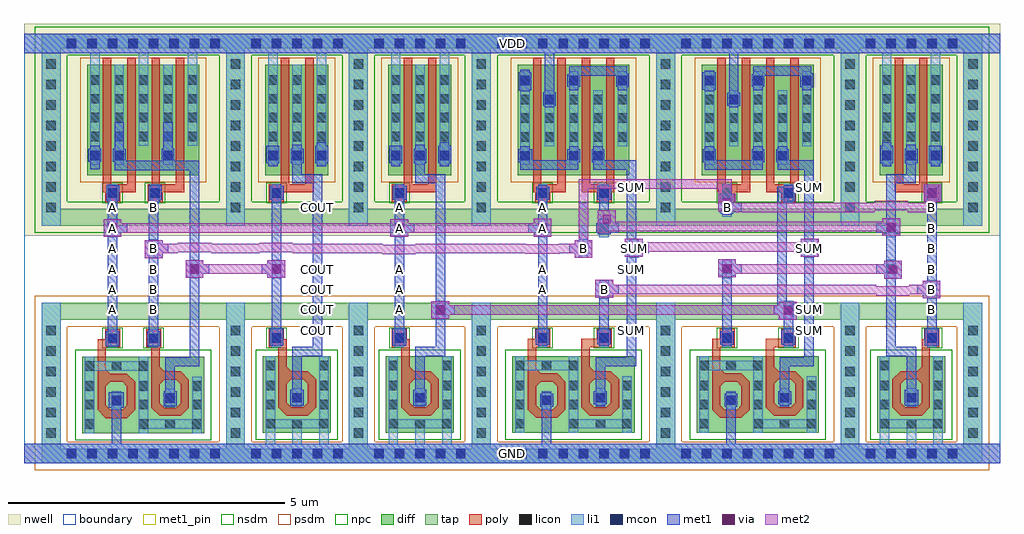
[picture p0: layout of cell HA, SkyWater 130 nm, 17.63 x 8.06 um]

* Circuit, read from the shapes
.subckt HA A B COUT GND SUM VDD
XM1 n1 A GND GND sky130_fd_pr__nfet_01v8 w=2.6 l=0.1473
XM2 n1 B n2 GND sky130_fd_pr__nfet_01v8 w=2.56 l=0.1474
XM3 GND n2 COUT GND sky130_fd_pr__nfet_01v8 w=2.56 l=0.1485
XM4 GND A n3 GND sky130_fd_pr__nfet_01v8 w=2.56 l=0.147
XM5 n4 A GND GND sky130_fd_pr__nfet_01v8 w=2.6 l=0.1467
XM6 n4 B SUM GND sky130_fd_pr__nfet_01v8 w=2.56 l=0.1463
XM7 n5 n6 GND GND sky130_fd_pr__nfet_01v8 w=2.6 l=0.1469
XM8 n5 n3 SUM GND sky130_fd_pr__nfet_01v8 w=2.56 l=0.1474
XM9 GND B n6 GND sky130_fd_pr__nfet_01v8 w=2.56 l=0.1481
XM10 n2 A VDD VDD sky130_fd_pr__pfet_01v8 w=2 l=0.15 m=2
XM11 n2 B VDD VDD sky130_fd_pr__pfet_01v8 w=2 l=0.15 m=2
XM12 COUT n2 VDD VDD sky130_fd_pr__pfet_01v8 w=2 l=0.15 m=2
XM13 n3 A VDD VDD sky130_fd_pr__pfet_01v8 w=2 l=0.15 m=2
XM14 VDD A n7 VDD sky130_fd_pr__pfet_01v8 w=2 l=0.15 m=2
XM15 SUM n6 n7 VDD sky130_fd_pr__pfet_01v8 w=2 l=0.15 m=2
XM16 VDD B n8 VDD sky130_fd_pr__pfet_01v8 w=2 l=0.15 m=2
XM17 SUM n3 n8 VDD sky130_fd_pr__pfet_01v8 w=2 l=0.15 m=2
XM18 n6 B VDD VDD sky130_fd_pr__pfet_01v8 w=2 l=0.15 m=2
.ends

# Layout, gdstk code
from math import pi, radians
import gdstk
lib = gdstk.Library(unit=1e-6, precision=1e-09)
def R(c, l, rs):  # rectangles x0, y0, x1, y1
    for r in rs: c.add(gdstk.rectangle(r[:2], r[2:], *l))
def A(c, l, x, y, w, h, nx, ny, dx, dy):  # array of equal rectangles
    R(c, l, [(x+i*dx, y+j*dy, x+i*dx+w, y+j*dy+h) for i in range(nx) for j in range(ny)])
def P(c, l, *ps):  # polygons
    for p in ps: c.add(gdstk.Polygon(p, *l))
nwell = (64, 20)
diff = (65, 20)
tap = (65, 44)
poly = (66, 20)
licon = (66, 44)
li1 = (67, 20)
mcon = (67, 44)
met1_pin = (68, 16)
met1 = (68, 20)
via = (68, 44)
met2 = (69, 20)
nsdm = (93, 44)
psdm = (94, 20)
npc = (95, 20)
boundary = (235, 4)

diff_ring_side = lib.new_cell('diff_ring_side')
R(diff_ring_side, nwell, [(-0.435,3.93,0.435,7.75)])
R(diff_ring_side, tap, [(-0.17,-0.17,0.17,2.72), (-0.17,4.11,0.17,7.57)])
A(diff_ring_side, licon, -0.085, 0.285, 0.17, 0.17, 1, 6, 0, 0.37)
A(diff_ring_side, licon, -0.085, 4.355, 0.17, 0.17, 1, 8, 0, 0.37)
R(diff_ring_side, li1, [(-0.17,-0.17,0.17,2.72), (-0.17,4.11,0.17,7.57)])
R(diff_ring_side, met1, [(-0.17,-0.17,0.17,0.17), (-0.17,7.23,0.17,7.57)])
R(diff_ring_side, nsdm, [(-0.295,3.985,0.295,7.695)])
R(diff_ring_side, psdm, [(-0.295,-0.295,0.295,2.845)])

poly_li1_contact = lib.new_cell('poly_li1_contact')
R(poly_li1_contact, poly, [(-0.16,-0.14,0.17,0.13)])
R(poly_li1_contact, licon, [(-0.08,-0.09,0.09,0.08)])
R(poly_li1_contact, li1, [(-0.16,-0.09,0.17,0.08)])
R(poly_li1_contact, npc, [(-0.18,-0.19,0.19,0.18)])

pmos2 = lib.new_cell('pmos2')
R(pmos2, nwell, [(0.26,-2.18,1.76,0.18)])
R(pmos2, diff, [(0.44,-2,1.58,0)])
R(pmos2, poly, [(0.72,-2.305,1.31,-2.155), (0.72,-2.155,0.87,0.13), (1.16,-2.155,1.31,0.13)])
A(pmos2, licon, 0.49, -1.38, 0.17, 0.17, 3, 4, 0.44, 0.34)
R(pmos2, li1, [(0.49,-1.465,0.66,0.21), (0.93,-1.465,1.1,0), (1.37,-1.465,1.54,0.21)])
R(pmos2, psdm, [(0.315,-2.125,1.705,0.125)])

nmos_top = lib.new_cell('nmos_top')
R(nmos_top, diff, [(0,0,1.23,1.38)])
R(nmos_top, poly, [(0.42,0.31,0.8,0.46), (0.27,0.46,0.42,0.965), (0.8,0.46,0.95,0.965), (0.42,0.965,0.95,1.115), (0.8,1.115,0.95,1.54)])
P(nmos_top, poly, [(0.72,1.115),(0.8,1.115),(0.8,1.195)],
  [(0.27,0.965),(0.42,0.965),(0.42,1.115)],
  [(0.42,0.885),(0.42,0.965),(0.5,0.965)],
  [(0.72,0.965),(0.8,0.965),(0.8,0.885)],
  [(0.42,0.54),(0.42,0.46),(0.5,0.46)],
  [(0.72,0.46),(0.8,0.46),(0.8,0.54)],
  [(0.27,0.46),(0.42,0.46),(0.42,0.31)],
  [(0.8,0.31),(0.8,0.46),(0.95,0.46)])
R(nmos_top, licon, [(0.04,0.08,0.21,0.25), (0.53,0.08,0.7,0.25), (1.01,0.08,1.18,0.25), (0.04,0.43,0.21,0.6), (1.01,0.43,1.18,0.6), (0.53,0.55,0.7,0.72), (0.04,0.77,0.21,0.94), (1.01,0.77,1.18,0.94), (0.04,1.13,0.21,1.3), (1.01,1.13,1.18,1.3)])
R(nmos_top, li1, [(0.04,0,0.21,0.08), (1.01,0,1.18,0.08), (0.04,0.08,1.18,0.25), (0.04,0.25,0.21,1.38), (1.01,0.25,1.18,1.38), (0.53,0.47,0.7,0.805)])
R(nmos_top, nsdm, [(-0.125,-0.125,1.355,1.505)])

invx1_pcell = lib.new_cell('invx1_pcell')
R(invx1_pcell, nwell, [(-0.435,3.93,2.655,7.75)])
A(invx1_pcell, diff, 0.59, 5.295, 0.17, 0.17, 3, 1, 0.44, 0)
R(invx1_pcell, tap, [(0.17,-0.17,2.05,0.085), (0.17,2.41,2.05,2.72), (0.17,4.11,2.05,4.42), (0.17,7.315,2.05,7.57)])
R(invx1_pcell, poly, [(0.775,1.905,0.925,2.065)])
A(invx1_pcell, licon, 0.285, -0.085, 0.17, 0.17, 5, 2, 0.37, 7.4)
A(invx1_pcell, licon, 0.59, 5.295, 0.17, 0.17, 3, 1, 0.44, 0)
A(invx1_pcell, li1, 0.59, 5.215, 0.17, 0.37, 3, 1, 0.44, 0)
R(invx1_pcell, li1, [(-0.17,-0.17,2.33,0.17), (0.545,0.17,0.715,0.42), (1.025,0.17,1.195,0.45), (1.515,0.17,1.685,0.45), (1.025,0.92,1.195,1.09), (0.655,2,0.825,2.17), (0.655,4.615,0.825,4.785), (-0.17,7.23,2.39,7.57)])
A(invx1_pcell, mcon, 0.285, -0.085, 0.17, 0.17, 5, 2, 0.37, 7.4)
A(invx1_pcell, mcon, 0.59, 5.295, 0.17, 0.17, 3, 1, 0.44, 0)
R(invx1_pcell, mcon, [(1.025,0.92,1.195,1.09), (0.655,2,0.825,2.17), (0.655,4.615,0.825,4.785)])
R(invx1_pcell, met1, [(-0.17,-0.17,2.39,0.17), (0.99,0.86,1.23,1.15), (1.025,1.15,1.195,1.755), (1.025,1.755,1.565,1.925), (1.395,1.925,1.565,4.875), (0.615,1.94,0.865,2.25), (0.655,2.25,0.825,4.58), (0.62,4.58,0.87,4.83), (0.655,4.83,0.825,4.865), (1.03,4.875,1.565,5.045), (1.03,5.045,1.2,5.24), (0.59,5.185,0.76,5.24), (1.47,5.185,1.64,5.24), (0.56,5.24,0.795,5.555), (1,5.24,1.23,5.505), (1.44,5.24,1.675,5.555), (1.03,5.505,1.2,5.575), (1.47,5.555,1.64,5.62), (-0.17,7.23,2.39,7.57)])
R(invx1_pcell, nsdm, [(0.045,3.985,2.175,4.545), (0.045,7.19,2.175,7.695)])
R(invx1_pcell, psdm, [(0.045,-0.295,2.175,0.21), (0.045,2.285,2.175,2.845), (0.465,5.17,1.765,5.59)])
invx1_pcell.add(gdstk.Reference(poly_li1_contact, (0.735,2.08), rotation=pi/2))
invx1_pcell.add(gdstk.Reference(poly_li1_contact, (0.745,4.705), rotation=3*pi/2))
invx1_pcell.add(gdstk.Reference(pmos2, (0.1,7.02)))
invx1_pcell.add(gdstk.Reference(nmos_top, (1.725,0.37), rotation=pi, x_reflection=True))
invx1_pcell.add(gdstk.Reference(diff_ring_side, (0,0)))
invx1_pcell.add(gdstk.Reference(diff_ring_side, (2.22,0)))

li1_m1_contact = lib.new_cell('li1_M1_contact')
R(li1_m1_contact, li1, [(-0.085,-0.165,0.085,0.165)])
R(li1_m1_contact, mcon, [(-0.085,-0.085,0.085,0.085)])
R(li1_m1_contact, met1, [(-0.115,-0.115,0.115,-0.085), (-0.265,-0.085,0.145,0.085), (-0.115,0.085,0.115,0.115)])

pmos2_1 = lib.new_cell('pmos2_1')
R(pmos2_1, nwell, [(0.26,-2.175,1.76,0.185)])
R(pmos2_1, diff, [(0.44,-1.995,1.58,0.005)])
R(pmos2_1, poly, [(0.72,-2.3,1.31,-2.15), (0.72,-2.15,0.87,0.135), (1.16,-2.15,1.31,0.135)])
A(pmos2_1, licon, 0.49, -1.385, 0.17, 0.17, 3, 3, 0.44, 0.34)
A(pmos2_1, li1, 0.49, -1.465, 0.17, 1.01, 3, 1, 0.44, 0)
R(pmos2_1, psdm, [(0.315,-2.12,1.705,0.13)])

nmos_top_trim1 = lib.new_cell('nmos_top_trim1')
R(nmos_top_trim1, diff, [(0,0,1.24,1.38)])
R(nmos_top_trim1, poly, [(0.43,0.31,0.81,0.46), (0.28,0.46,0.43,0.965), (0.81,0.46,0.96,0.965), (0.43,0.965,0.96,1.115), (0.81,1.115,0.96,1.545)])
P(nmos_top_trim1, poly, [(0.73,1.115),(0.81,1.115),(0.81,1.195)],
  [(0.28,0.965),(0.43,0.965),(0.43,1.115)],
  [(0.43,0.885),(0.43,0.965),(0.51,0.965)],
  [(0.73,0.965),(0.81,0.965),(0.81,0.885)],
  [(0.43,0.54),(0.43,0.46),(0.51,0.46)],
  [(0.73,0.46),(0.81,0.46),(0.81,0.54)],
  [(0.28,0.46),(0.43,0.46),(0.43,0.31)],
  [(0.81,0.31),(0.81,0.46),(0.96,0.46)])
A(nmos_top_trim1, licon, 0.05, 0.08, 0.17, 0.17, 3, 1, 0.485, 0)
R(nmos_top_trim1, licon, [(0.05,0.43,0.22,0.6), (1.02,0.43,1.19,0.6), (0.535,0.55,0.705,0.72), (0.05,0.77,0.22,0.94), (1.02,0.77,1.19,0.94), (1.02,1.13,1.19,1.3)])
R(nmos_top_trim1, li1, [(0.05,0,0.22,0.08), (1.02,0,1.19,0.08), (0.05,0.08,1.19,0.25), (0.05,0.25,0.22,1.02), (1.02,0.25,1.19,1.38), (0.535,0.47,0.705,0.805)])
R(nmos_top_trim1, nsdm, [(-0.125,-0.125,1.365,1.505)])

nmos_bottom = lib.new_cell('nmos_bottom')
R(nmos_bottom, diff, [(0,0,1.24,1.38)])
R(nmos_bottom, poly, [(0.43,0.27,0.81,0.42), (0.28,0.42,0.43,0.925), (0.81,0.42,0.96,0.925), (0.43,0.925,0.96,1.075), (0.81,1.075,0.96,1.51)])
P(nmos_bottom, poly, [(0.73,1.075),(0.81,1.075),(0.81,1.155)],
  [(0.28,0.925),(0.43,0.925),(0.43,1.075)],
  [(0.43,0.845),(0.43,0.925),(0.51,0.925)],
  [(0.73,0.925),(0.81,0.925),(0.81,0.845)],
  [(0.43,0.5),(0.43,0.42),(0.51,0.42)],
  [(0.73,0.42),(0.81,0.42),(0.81,0.5)],
  [(0.28,0.42),(0.43,0.42),(0.43,0.27)],
  [(0.81,0.27),(0.81,0.42),(0.96,0.42)])
A(nmos_bottom, licon, 0.05, 1.13, 0.17, 0.17, 3, 1, 0.485, 0)
R(nmos_bottom, licon, [(0.05,0.08,0.22,0.25), (1.02,0.08,1.19,0.25), (0.05,0.43,0.22,0.6), (1.02,0.43,1.19,0.6), (0.535,0.505,0.705,0.675), (0.05,0.77,0.22,0.94), (1.02,0.77,1.19,0.94)])
R(nmos_bottom, li1, [(0.05,0,0.22,1.13), (1.02,0,1.19,1.13), (0.535,0.425,0.705,0.755), (0.05,1.13,1.19,1.3), (0.05,1.3,0.22,1.38), (1.02,1.3,1.19,1.38)])
R(nmos_bottom, nsdm, [(-0.125,-0.125,1.365,1.505)])

xor2x1_pcell = lib.new_cell('xor2X1_pcell')
R(xor2x1_pcell, nwell, [(2.655,3.93,8.445,4.125), (2.64,4.125,5.13,4.84), (5.97,4.125,8.46,4.84), (10.21,4.525,10.275,4.565), (2.64,4.84,2.695,7.195), (5.075,4.84,5.13,7.195), (5.97,4.84,6.025,7.2), (8.405,4.84,8.46,7.2), (2.925,6.65,3.095,6.82), (2.64,7.195,5.13,7.23), (5.97,7.2,8.46,7.23), (2.39,7.23,5.38,7.245), (5.72,7.23,8.71,7.245), (2.39,7.245,5.395,7.315), (5.705,7.245,8.71,7.315), (2.39,7.315,8.71,7.57), (2.64,7.57,5.13,7.66), (5.97,7.57,8.46,7.66), (2.655,7.66,8.445,7.75)])
A(xor2x1_pcell, diff, 2.925, 6.65, 0.17, 0.17, 3, 1, 0.88, 0)
A(xor2x1_pcell, diff, 6.255, 6.65, 0.17, 0.17, 3, 1, 0.88, 0)
R(xor2x1_pcell, diff, [(2.925,5.29,3.095,5.46), (3.805,5.29,3.975,5.46), (4.245,5.29,4.415,5.46), (6.255,5.29,6.425,5.46), (7.135,5.29,7.305,5.46), (7.575,5.29,7.745,5.46)])
R(xor2x1_pcell, tap, [(2.39,-0.17,5.38,-0.085), (5.72,-0.17,8.71,-0.085), (2.39,-0.085,5.395,0.085), (5.705,-0.085,8.71,0.085), (2.39,2.41,5.395,2.72), (5.705,2.41,8.71,2.72), (2.39,4.11,5.395,4.42), (5.705,4.11,8.71,4.42), (2.39,7.315,8.71,7.57)])
R(xor2x1_pcell, poly, [(3.06,1.88,3.21,1.92), (6.39,1.88,6.54,1.92), (4.03,1.915,4.18,1.92), (7.36,1.915,7.51,1.92), (3.06,1.92,3.195,2.07), (4.03,1.92,4.305,2.07), (6.39,1.92,6.525,2.07), (7.36,1.92,7.635,2.07)])
A(xor2x1_pcell, licon, 2.505, -0.085, 0.17, 0.17, 8, 2, 0.37, 7.4)
A(xor2x1_pcell, licon, 5.835, -0.085, 0.17, 0.17, 8, 2, 0.37, 7.4)
A(xor2x1_pcell, licon, 2.925, 6.65, 0.17, 0.17, 3, 1, 0.88, 0)
A(xor2x1_pcell, licon, 6.255, 6.65, 0.17, 0.17, 3, 1, 0.88, 0)
R(xor2x1_pcell, licon, [(2.925,5.29,3.095,5.46), (3.805,5.29,3.975,5.46), (4.245,5.29,4.415,5.46), (6.255,5.29,6.425,5.46), (7.135,5.29,7.305,5.46), (7.575,5.29,7.745,5.46)])
A(xor2x1_pcell, li1, 2.925, 6.56, 0.17, 0.34, 3, 1, 0.88, 0)
A(xor2x1_pcell, li1, 6.255, 6.56, 0.17, 0.34, 3, 1, 0.88, 0)
R(xor2x1_pcell, li1, [(2.375,-0.17,9.075,0.17), (3.315,0.875,3.485,1.045), (6.645,0.875,6.815,1.045), (4.285,0.92,4.455,1.09), (7.615,0.92,7.785,1.09), (3.245,2,3.415,2.17), (4.355,2,4.525,2.17), (6.575,2,6.745,2.17), (7.685,2,7.855,2.17), (0.655,4.615,0.825,4.785), (3.245,4.615,3.415,4.785), (4.355,4.615,4.525,4.785), (7.685,4.615,7.855,4.785), (2.925,5.21,3.095,5.63), (3.805,5.21,3.975,5.565), (4.245,5.21,4.415,5.575), (6.255,5.21,6.425,5.605), (7.135,5.21,7.305,5.59), (7.575,5.21,7.745,5.6), (3.365,6.31,3.535,6.48), (6.695,6.31,6.865,6.48), (2.39,7.23,8.845,7.57)])
A(xor2x1_pcell, mcon, 2.505, -0.085, 0.17, 0.17, 8, 2, 0.37, 7.4)
A(xor2x1_pcell, mcon, 5.835, -0.085, 0.17, 0.17, 8, 2, 0.37, 7.4)
A(xor2x1_pcell, mcon, 2.925, 6.65, 0.17, 0.17, 3, 1, 0.88, 0)
A(xor2x1_pcell, mcon, 6.255, 6.65, 0.17, 0.17, 3, 1, 0.88, 0)
R(xor2x1_pcell, mcon, [(3.315,0.875,3.485,1.045), (6.645,0.875,6.815,1.045), (4.285,0.92,4.455,1.09), (7.615,0.92,7.785,1.09), (3.245,2,3.415,2.17), (4.355,2,4.525,2.17), (6.575,2,6.745,2.17), (7.685,2,7.855,2.17), (0.655,4.615,0.825,4.785), (3.245,4.615,3.415,4.785), (4.355,4.615,4.525,4.785), (7.685,4.615,7.855,4.785), (2.925,5.29,3.095,5.46), (3.805,5.29,3.975,5.46), (4.245,5.29,4.415,5.46), (6.255,5.29,6.425,5.46), (7.135,5.29,7.305,5.46), (7.575,5.29,7.745,5.46), (3.365,6.31,3.535,6.48), (6.695,6.31,6.865,6.48)])
R(xor2x1_pcell, met1, [(2.39,-0.17,5.38,-0.14), (5.72,-0.17,8.71,-0.14), (2.39,-0.14,5.395,0.17), (5.705,-0.14,8.71,0.17), (3.315,0.17,3.485,0.845), (6.645,0.17,6.815,0.845), (3.285,0.845,3.52,1.08), (6.615,0.845,6.845,1.075), (4.285,0.86,4.455,0.885), (7.615,0.86,7.785,0.89), (4.255,0.885,4.49,1.125), (7.585,0.89,7.815,1.12), (6.645,1.075,6.815,1.105), (3.315,1.08,3.485,1.105), (7.615,1.12,7.785,1.57), (4.285,1.125,4.455,1.57), (4.285,1.57,5.015,1.74), (7.615,1.57,8.225,1.74), (4.845,1.74,5.015,3.555), (8.055,1.74,8.225,3.555), (3.245,1.94,3.415,1.965), (4.355,1.94,4.525,1.97), (6.575,1.94,6.745,1.96), (7.685,1.94,7.855,1.96), (6.54,1.96,6.78,2.205), (7.64,1.96,7.895,2.23), (3.205,1.965,3.45,2.24), (4.315,1.97,4.56,2.235), (6.575,2.205,6.745,3.205), (7.685,2.23,7.855,2.415), (4.355,2.235,4.525,2.815), (3.245,2.24,3.415,3.915), (7.595,2.415,7.915,2.64), (1.32,2.43,1.64,2.75), (7.565,2.64,7.915,2.735), (9.535,2.69,9.705,3.155), (7.565,2.735,7.735,4.55), (10.195,2.8,10.515,3.12), (4.28,2.815,4.6,2.875), (4.28,2.875,4.57,3.045), (4.28,3.045,4.6,3.135), (9.495,3.155,9.815,3.475), (6.5,3.205,6.82,3.505), (9.535,3.475,9.705,3.96), (4.845,3.555,5.135,3.585), (7.995,3.555,8.305,3.875), (4.815,3.585,5.135,3.875), (0.655,3.62,0.825,3.91), (4.845,3.875,5.015,5.12), (8.055,3.875,8.225,5.12), (0.58,3.91,0.9,4.23), (3.165,3.915,3.485,4.235), (9.465,3.96,9.785,4.25), (4.325,4.075,4.645,4.395), (0.655,4.23,0.825,4.585), (3.245,4.235,3.415,4.585), (9.535,4.25,9.705,4.355), (6.575,4.31,6.745,4.37), (6.5,4.37,6.82,4.69), (4.355,4.395,4.525,4.585), (10.21,4.545,10.53,4.865), (7.565,4.55,7.89,4.82), (0.62,4.585,0.86,4.835), (3.215,4.585,3.445,4.815), (4.315,4.585,4.565,4.83), (3.245,4.815,3.415,4.845), (7.685,4.82,7.855,4.845), (4.355,4.83,4.525,4.845), (0.655,4.835,0.825,4.845), (2.925,5.12,3.975,5.255), (4.245,5.12,5.015,5.26), (6.255,5.12,7.305,5.26), (7.575,5.12,8.225,5.26), (2.89,5.255,4.01,5.29), (4.215,5.26,5.015,5.29), (6.225,5.26,7.335,5.29), (7.545,5.26,8.225,5.29), (2.89,5.29,3.145,5.49), (3.77,5.29,4.01,5.49), (4.215,5.29,4.445,5.49), (6.225,5.29,6.455,5.49), (7.105,5.29,7.335,5.49), (7.545,5.29,7.775,5.49), (2.925,5.49,3.095,5.55), (3.805,5.49,3.975,5.55), (4.245,5.49,4.415,5.55), (6.255,5.49,6.425,5.55), (7.135,5.49,7.305,5.55), (7.575,5.49,7.745,5.55), (3.365,6.25,3.535,6.28), (6.695,6.25,6.865,6.28), (3.335,6.28,3.565,6.52), (6.665,6.28,6.895,6.51), (6.695,6.51,6.865,7.23), (3.365,6.52,3.535,7.23), (2.925,6.54,3.095,6.56), (6.255,6.545,6.425,6.57), (2.895,6.56,3.125,6.885), (3.805,6.56,3.975,6.62), (4.685,6.56,4.855,6.62), (7.135,6.56,7.305,6.62), (8.015,6.56,8.185,6.615), (6.215,6.57,6.455,6.88), (7.98,6.615,8.215,6.82), (3.775,6.62,4.005,6.82), (4.655,6.62,4.885,6.82), (7.105,6.62,7.335,6.82), (3.775,6.82,4.885,6.85), (7.105,6.82,8.215,6.85), (3.805,6.85,4.885,6.855), (7.135,6.85,8.215,6.87), (3.805,6.855,4.855,6.99), (7.135,6.87,8.185,6.99), (6.255,6.88,6.425,6.91), (2.925,6.885,3.095,6.925), (2.39,7.23,5.38,7.245), (5.72,7.23,8.71,7.245), (2.39,7.245,5.395,7.315), (5.705,7.245,8.71,7.315), (2.39,7.315,8.71,7.57)])
R(xor2x1_pcell, via, [(7.68,2.5,7.83,2.65), (1.405,2.515,1.555,2.665), (10.28,2.885,10.43,3.035), (4.365,2.9,4.515,3.05), (9.58,3.24,9.73,3.39), (6.585,3.27,6.735,3.42), (4.9,3.64,5.05,3.79), (8.08,3.64,8.23,3.79), (0.665,3.995,0.815,4.145), (3.25,4,3.4,4.15), (9.55,4.015,9.7,4.165), (4.41,4.16,4.56,4.31), (6.585,4.455,6.735,4.605), (10.295,4.63,10.445,4.78)])
R(xor2x1_pcell, met2, [(7.595,2.415,7.915,2.505), (1.32,2.43,1.64,2.505), (1.32,2.505,7.915,2.675), (1.32,2.675,1.64,2.75), (7.595,2.675,7.915,2.735), (10.195,2.8,10.515,2.875), (4.28,2.815,4.6,2.875), (9.355,2.845,9.955,2.875), (4.28,2.875,10.515,3.015), (4.28,3.015,9.355,3.045), (9.955,3.015,10.515,3.045), (4.28,3.045,4.6,3.135), (10.195,3.045,10.515,3.12), (9.495,3.155,9.815,3.245), (6.5,3.185,6.82,3.245), (6.5,3.245,9.815,3.415), (6.5,3.415,6.82,3.505), (9.495,3.415,9.815,3.475), (4.815,3.555,5.135,3.645), (7.995,3.555,8.315,3.645), (4.815,3.645,8.315,3.815), (4.815,3.815,5.135,3.875), (7.995,3.815,8.315,3.875), (0.58,3.91,0.9,3.985), (3.165,3.915,3.485,3.985), (9.465,3.93,9.785,4.015), (0.58,3.985,3.485,4.155), (4.325,3.985,4.54,4.015), (4.325,4.015,9.785,4.185), (0.58,4.155,0.9,4.23), (3.165,4.155,3.485,4.235), (4.325,4.185,4.645,4.395), (9.465,4.185,9.785,4.25), (6.82,4.355,9.325,4.37), (9.925,4.355,10.425,4.39), (6.5,4.37,9.325,4.39), (6.5,4.39,10.425,4.525), (6.5,4.525,6.82,4.69), (9.185,4.525,10.065,4.53), (10.21,4.525,10.425,4.545), (9.325,4.53,9.925,4.56), (10.21,4.545,10.53,4.865)])
R(xor2x1_pcell, nsdm, [(2.265,3.985,8.835,4.545), (2.265,7.19,8.835,7.695)])
A(xor2x1_pcell, psdm, 2.8, 6.525, 0.42, 0.42, 3, 1, 0.88, 0)
A(xor2x1_pcell, psdm, 6.13, 6.525, 0.42, 0.42, 3, 1, 0.88, 0)
R(xor2x1_pcell, psdm, [(2.265,-0.295,8.835,0.21), (2.265,2.285,8.835,2.845), (2.8,5.165,3.22,5.585), (3.68,5.165,4.54,5.585), (6.13,5.165,6.55,5.585), (7.01,5.165,7.87,5.585)])
xor2x1_pcell.add(gdstk.Reference(diff_ring_side, (2.22,0)))
xor2x1_pcell.add(gdstk.Reference(invx1_pcell, (0,0)))
xor2x1_pcell.add(gdstk.Reference(li1_m1_contact, (0.74,4.07), rotation=pi))
xor2x1_pcell.add(gdstk.Reference(li1_m1_contact, (1.48,2.59), rotation=pi))
xor2x1_pcell.add(gdstk.Reference(poly_li1_contact, (3.335,2.09), rotation=3*pi/2))
xor2x1_pcell.add(gdstk.Reference(poly_li1_contact, (3.335,4.705), rotation=3*pi/2))
xor2x1_pcell.add(gdstk.Reference(pmos2_1, (3.315,7.015)))
xor2x1_pcell.add(gdstk.Reference(pmos2_1, (2.435,7.015)))
xor2x1_pcell.add(gdstk.Reference(nmos_top_trim1, (4.99,0.37), rotation=pi, x_reflection=True))
xor2x1_pcell.add(gdstk.Reference(nmos_bottom, (4.02,0.37), rotation=pi, x_reflection=True))
xor2x1_pcell.add(gdstk.Reference(li1_m1_contact, (3.33,4.07)))
xor2x1_pcell.add(gdstk.Reference(poly_li1_contact, (4.445,4.705), rotation=3*pi/2))
xor2x1_pcell.add(gdstk.Reference(poly_li1_contact, (4.445,2.09), rotation=3*pi/2))
xor2x1_pcell.add(gdstk.Reference(li1_m1_contact, (4.44,2.96), rotation=pi))
xor2x1_pcell.add(gdstk.Reference(li1_m1_contact, (4.98,3.7), rotation=pi))
xor2x1_pcell.add(gdstk.Reference(li1_m1_contact, (4.44,4.07), rotation=pi))
xor2x1_pcell.add(gdstk.Reference(diff_ring_side, (5.55,0)))
xor2x1_pcell.add(gdstk.Reference(poly_li1_contact, (6.665,4.705), rotation=3*pi/2))
xor2x1_pcell.add(gdstk.Reference(poly_li1_contact, (6.665,2.09), rotation=3*pi/2))
xor2x1_pcell.add(gdstk.Reference(pmos2_1, (6.645,7.015)))
xor2x1_pcell.add(gdstk.Reference(pmos2_1, (5.765,7.015)))
xor2x1_pcell.add(gdstk.Reference(nmos_top_trim1, (8.32,0.37), rotation=pi, x_reflection=True))
xor2x1_pcell.add(gdstk.Reference(nmos_bottom, (7.35,0.37), rotation=pi, x_reflection=True))
xor2x1_pcell.add(gdstk.Reference(li1_m1_contact, (6.66,3.33), rotation=pi))
xor2x1_pcell.add(gdstk.Reference(li1_m1_contact, (6.66,4.44), rotation=pi))
xor2x1_pcell.add(gdstk.Reference(poly_li1_contact, (7.775,4.705), rotation=3*pi/2))
xor2x1_pcell.add(gdstk.Reference(poly_li1_contact, (7.775,2.09), rotation=3*pi/2))
xor2x1_pcell.add(gdstk.Reference(li1_m1_contact, (8.14,3.7)))
xor2x1_pcell.add(gdstk.Reference(li1_m1_contact, (7.77,2.59)))
xor2x1_pcell.add(gdstk.Reference(diff_ring_side, (8.88,0)))
xor2x1_pcell.add(gdstk.Reference(invx1_pcell, (11.1,0), rotation=pi, x_reflection=True))
xor2x1_pcell.add(gdstk.Reference(li1_m1_contact, (10.36,2.96)))
xor2x1_pcell.add(gdstk.Reference(li1_m1_contact, (9.62,4.07)))
xor2x1_pcell.add(gdstk.Reference(li1_m1_contact, (9.62,3.33)))

nand2x1_pcell = lib.new_cell('nand2x1_pcell')
R(nand2x1_pcell, nwell, [(0.435,3.93,2.895,7.75)])
R(nand2x1_pcell, diff, [(1.115,5.265,1.345,5.5), (1.995,5.265,2.225,5.5), (0.705,5.295,0.875,5.465)])
R(nand2x1_pcell, tap, [(0.17,-0.17,3.16,-0.15), (0.155,-0.15,3.175,0.085), (0.155,2.4,0.17,2.41), (3.16,2.4,3.175,2.41), (0.155,2.41,3.175,2.71), (0.17,2.71,3.16,2.72), (0.17,4.11,3.16,4.42), (0.17,7.315,3.16,7.57)])
R(nand2x1_pcell, poly, [(0.84,1.875,0.99,2.065), (1.81,1.91,1.96,1.915)])
A(nand2x1_pcell, licon, 0.285, -0.085, 0.17, 0.17, 8, 2, 0.37, 7.4)
R(nand2x1_pcell, licon, [(0.705,5.295,0.875,5.465), (1.145,5.295,1.315,5.465), (2.025,5.295,2.195,5.465)])
R(nand2x1_pcell, li1, [(0.165,-0.17,3.295,0.17), (1.095,0.87,1.265,1.04), (2.065,0.915,2.235,1.085), (1.025,1.995,1.195,2.165), (1.765,1.995,1.935,2.165), (1.025,4.615,1.195,4.785), (1.795,4.615,1.965,4.785), (0.705,5.215,0.875,5.61), (1.145,5.215,1.315,5.61), (2.025,5.215,2.195,5.61), (-0.17,7.23,3.17,7.57)])
A(nand2x1_pcell, mcon, 0.285, -0.085, 0.17, 0.17, 8, 2, 0.37, 7.4)
R(nand2x1_pcell, mcon, [(1.095,0.87,1.265,1.04), (2.065,0.915,2.235,1.085), (1.025,1.995,1.195,2.165), (1.765,1.995,1.935,2.165), (1.025,4.615,1.195,4.785), (1.795,4.615,1.965,4.785), (0.705,5.295,0.875,5.465), (1.145,5.295,1.315,5.465), (2.025,5.295,2.195,5.465)])
R(nand2x1_pcell, met1, [(-0.17,-0.17,3.5,0.17), (1.095,0.17,1.265,0.825), (1.045,0.825,1.31,1.1), (2.035,0.855,2.265,1.12), (2.065,1.12,2.235,1.57), (2.065,1.57,2.675,1.74), (2.505,1.74,2.675,5.115), (0.99,1.935,1.23,2.205), (1.735,1.935,1.97,2.205), (1.025,2.205,1.195,4.56), (1.765,2.205,1.935,4.555), (1.765,4.555,1.97,4.58), (0.995,4.56,1.23,4.845), (1.765,4.58,1.995,4.845), (1.145,5.115,2.675,5.265), (0.705,5.135,0.875,5.265), (0.675,5.265,0.905,5.5), (1.115,5.265,2.675,5.285), (1.115,5.285,1.345,5.5), (1.995,5.285,2.225,5.5), (0.705,5.5,0.875,5.555), (1.145,5.5,1.315,5.98), (2.025,5.5,2.195,5.98), (-0.17,7.23,3.5,7.57)])
R(nand2x1_pcell, nsdm, [(0.045,3.985,3.285,4.545), (0.045,7.19,3.285,7.695)])
R(nand2x1_pcell, psdm, [(0.045,-0.295,3.285,-0.275), (0.03,-0.275,3.3,0.21), (0.03,2.275,0.295,2.285), (3.035,2.275,3.3,2.285), (0.03,2.285,3.3,2.835), (0.045,2.835,3.285,2.845), (0.99,5.14,1.47,5.17), (1.87,5.14,2.35,5.625), (0.58,5.17,1.47,5.59), (0.99,5.59,1.47,5.625)])
nand2x1_pcell.add(gdstk.Reference(diff_ring_side, (0,0)))
nand2x1_pcell.add(gdstk.Reference(nmos_bottom, (1.8,0.365), rotation=pi, x_reflection=True))
nand2x1_pcell.add(gdstk.Reference(pmos2, (0.215,7.02)))
nand2x1_pcell.add(gdstk.Reference(poly_li1_contact, (1.115,4.705), rotation=3*pi/2))
nand2x1_pcell.add(gdstk.Reference(poly_li1_contact, (1.115,2.085), rotation=3*pi/2))
nand2x1_pcell.add(gdstk.Reference(nmos_top_trim1, (2.77,0.365), rotation=pi, x_reflection=True))
nand2x1_pcell.add(gdstk.Reference(pmos2, (1.095,7.02)))
nand2x1_pcell.add(gdstk.Reference(poly_li1_contact, (1.845,2.075), rotation=pi/2))
nand2x1_pcell.add(gdstk.Reference(poly_li1_contact, (1.885,4.705), rotation=3*pi/2))
nand2x1_pcell.add(gdstk.Reference(diff_ring_side, (3.33,0)))

and2x1_pcell = lib.new_cell('and2x1_pcell')
R(and2x1_pcell, met1, [(2.43,3.17,2.75,3.49), (3.905,3.17,4.225,3.49)])
R(and2x1_pcell, via, [(2.515,3.255,2.665,3.405), (3.99,3.255,4.14,3.405)])
R(and2x1_pcell, met2, [(2.43,3.17,2.75,3.245), (3.905,3.17,4.225,3.245), (2.43,3.245,4.225,3.415), (2.43,3.415,2.75,3.49), (3.905,3.415,4.225,3.49)])
and2x1_pcell.add(gdstk.Reference(nand2x1_pcell, (0,0)))
and2x1_pcell.add(gdstk.Reference(li1_m1_contact, (4.07,3.33)))
and2x1_pcell.add(gdstk.Reference(li1_m1_contact, (2.59,3.33), rotation=pi))
and2x1_pcell.add(gdstk.Reference(invx1_pcell, (3.33,0)))

c_ha = lib.new_cell('HA')
R(c_ha, nwell, [(0,4.11,17.63,4.4), (0,4.4,9.945,4.475), (10.005,4.4,17.63,4.475), (0,4.475,17.63,7.94)])
R(c_ha, tap, [(0.32,0,17.31,0.05), (0.32,7.73,17.31,7.76)])
R(c_ha, li1, [(0,0,17.63,0.35), (0,7.41,17.63,7.76)])
A(c_ha, met1_pin, 5.215, 2.315, 0.17, 0.17, 1, 4, 0, 0.37)
A(c_ha, met1_pin, 1.515, 2.685, 0.17, 0.17, 1, 6, 0, 0.37)
A(c_ha, met1_pin, 2.255, 2.685, 0.17, 0.17, 1, 4, 0, 0.37)
A(c_ha, met1_pin, 6.695, 2.685, 0.17, 0.17, 1, 3, 0, 0.37)
A(c_ha, met1_pin, 14.095, 2.685, 0.17, 0.17, 1, 3, 0, 1.11)
A(c_ha, met1_pin, 16.315, 2.685, 0.17, 0.17, 1, 6, 0, 0.37)
R(c_ha, met1_pin, [(0,0,17.63,0.35), (10.885,2.315,11.055,2.485), (14.095,2.315,14.265,2.485), (9.285,3.055,9.455,3.225), (10.395,3.055,10.565,3.225), (9.285,3.425,9.455,3.595), (10.885,3.425,11.055,3.595), (10.025,3.795,10.195,3.965), (10.935,3.795,11.105,3.965), (6.695,4.165,6.865,4.335), (9.285,4.165,9.455,4.335), (2.255,4.535,2.425,4.705), (5.215,4.535,5.385,4.705), (6.695,4.535,6.865,4.705), (9.285,4.535,9.455,4.705), (12.615,4.535,12.785,4.705), (10.885,4.905,11.055,5.075), (0,7.41,17.63,7.76)])
A(c_ha, met1, 5.215, 2.315, 0.17, 0.17, 1, 4, 0, 0.37)
A(c_ha, met1, 1.515, 2.685, 0.17, 0.17, 1, 4, 0, 0.37)
A(c_ha, met1, 2.255, 2.685, 0.17, 0.17, 1, 3, 0, 0.37)
A(c_ha, met1, 6.695, 2.685, 0.17, 0.17, 1, 3, 0, 0.37)
A(c_ha, met1, 14.095, 2.685, 0.17, 0.17, 1, 3, 0, 1.11)
A(c_ha, met1, 16.315, 2.685, 0.17, 0.17, 1, 6, 0, 0.37)
R(c_ha, met1, [(0,0,17.63,0.35), (10.885,2.315,11.055,2.485), (14.095,2.315,14.265,2.485), (9.285,3.055,9.455,3.225), (10.395,3.055,10.565,3.225), (9.285,3.425,9.455,3.595), (10.885,3.425,11.055,3.595), (2.185,3.705,2.505,4.025), (9.945,3.71,10.265,4.03), (10.935,3.795,11.105,3.965), (10.025,4.03,10.195,4.705), (1.44,4.09,1.76,4.41), (6.695,4.165,6.865,4.335), (9.285,4.165,9.455,4.335), (1.515,4.535,1.685,4.705), (2.255,4.535,2.425,4.705), (5.215,4.535,5.385,4.705), (6.695,4.535,6.865,4.705), (9.285,4.535,9.455,4.705), (12.615,4.535,12.785,4.705), (10.885,4.905,11.055,5.075), (0,7.41,17.63,7.76)])
R(c_ha, via, [(2.27,3.79,2.42,3.94), (10.03,3.795,10.18,3.945), (1.525,4.175,1.675,4.325)])
R(c_ha, met2, [(2.185,3.705,2.505,3.795), (9.945,3.71,10.265,3.795), (6.48,3.78,7.08,3.795), (9.065,3.785,9.665,3.795), (2.185,3.795,2.78,3.81), (3.38,3.795,4.255,3.81), (4.855,3.795,10.265,3.81), (2.185,3.81,10.265,3.95), (2.185,3.95,6.48,3.965), (7.08,3.95,10.265,3.955), (7.08,3.955,9.065,3.965), (9.665,3.955,10.265,3.965), (2.185,3.965,2.505,4.025), (2.78,3.965,3.38,3.98), (4.255,3.965,4.855,3.98), (9.945,3.965,10.265,4.03), (10.025,4.03,10.195,4.96), (1.44,4.09,1.76,4.165), (1.44,4.165,6.635,4.335), (1.44,4.335,1.76,4.41), (12.615,4.655,12.785,4.825), (12.54,4.825,12.785,4.96), (10.025,4.96,12.785,5.13)])
R(c_ha, nsdm, [(0.195,7.605,17.435,7.885)])
R(c_ha, psdm, [(0.195,-0.125,17.435,0.175)])
R(c_ha, boundary, [(0,0,17.63,7.76)])
c_ha.add(gdstk.Reference(xor2x1_pcell, (6.04,0.18)))
c_ha.add(gdstk.Reference(li1_m1_contact, (10.11,3.88)))
c_ha.add(gdstk.Reference(li1_m1_contact, (1.6,4.25), rotation=pi))
c_ha.add(gdstk.Reference(li1_m1_contact, (2.34,3.88), rotation=pi))
c_ha.add(gdstk.Reference(and2x1_pcell, (0.49,0.18)))
c_ha.add(gdstk.Label('SUM', (11.02,3.88), layer=68, texttype=5))
c_ha.add(gdstk.Label('SUM', (10.97,4.99), layer=68, texttype=5))
c_ha.add(gdstk.Label('SUM', (10.97,2.4), layer=68, texttype=5))
c_ha.add(gdstk.Label('SUM', (10.97,3.51), layer=68, texttype=5))
c_ha.add(gdstk.Label('SUM', (14.18,4.99), layer=68, texttype=5))
c_ha.add(gdstk.Label('SUM', (14.18,2.77), layer=68, texttype=5))
c_ha.add(gdstk.Label('SUM', (14.18,2.4), layer=68, texttype=5))
c_ha.add(gdstk.Label('SUM', (14.18,3.88), layer=68, texttype=5))
c_ha.add(gdstk.Label('COUT', (5.3,3.14), layer=68, texttype=5))
c_ha.add(gdstk.Label('COUT', (5.3,4.62), layer=68, texttype=5))
c_ha.add(gdstk.Label('COUT', (5.3,3.51), layer=68, texttype=5))
c_ha.add(gdstk.Label('COUT', (5.3,2.4), layer=68, texttype=5))
c_ha.add(gdstk.Label('COUT', (5.3,2.77), layer=68, texttype=5))
c_ha.add(gdstk.Label('A', (9.37,3.14), layer=68, texttype=5))
c_ha.add(gdstk.Label('A', (9.37,3.51), layer=68, texttype=5))
c_ha.add(gdstk.Label('A', (9.37,4.25), layer=68, texttype=5))
c_ha.add(gdstk.Label('A', (9.37,4.62), layer=68, texttype=5))
c_ha.add(gdstk.Label('A', (6.78,2.77), layer=68, texttype=5))
c_ha.add(gdstk.Label('A', (6.78,3.14), layer=68, texttype=5))
c_ha.add(gdstk.Label('A', (6.78,3.51), layer=68, texttype=5))
c_ha.add(gdstk.Label('A', (6.78,4.25), layer=68, texttype=5))
c_ha.add(gdstk.Label('A', (6.78,4.62), layer=68, texttype=5))
c_ha.add(gdstk.Label('A', (1.6,2.77), layer=68, texttype=5))
c_ha.add(gdstk.Label('A', (1.6,3.14), layer=68, texttype=5))
c_ha.add(gdstk.Label('A', (1.6,3.51), layer=68, texttype=5))
c_ha.add(gdstk.Label('A', (1.6,3.88), layer=68, texttype=5))
c_ha.add(gdstk.Label('A', (1.6,4.62), layer=68, texttype=5))
c_ha.add(gdstk.Label('A', (1.6,4.25), layer=68, texttype=5))
c_ha.add(gdstk.Label('B', (12.7,4.62), layer=68, texttype=5))
c_ha.add(gdstk.Label('B', (16.4,4.62), layer=68, texttype=5))
c_ha.add(gdstk.Label('B', (16.4,4.25), layer=68, texttype=5))
c_ha.add(gdstk.Label('B', (16.4,2.77), layer=68, texttype=5))
c_ha.add(gdstk.Label('B', (16.4,3.51), layer=68, texttype=5))
c_ha.add(gdstk.Label('B', (16.4,3.14), layer=68, texttype=5))
c_ha.add(gdstk.Label('B', (10.48,3.14), layer=68, texttype=5))
c_ha.add(gdstk.Label('B', (16.4,3.88), layer=68, texttype=5))
c_ha.add(gdstk.Label('B', (10.11,3.88), layer=68, texttype=5))
c_ha.add(gdstk.Label('B', (2.34,4.62), layer=68, texttype=5))
c_ha.add(gdstk.Label('B', (2.34,2.77), layer=68, texttype=5))
c_ha.add(gdstk.Label('B', (2.34,3.14), layer=68, texttype=5))
c_ha.add(gdstk.Label('B', (2.34,3.51), layer=68, texttype=5))
c_ha.add(gdstk.Label('B', (2.34,3.88), layer=68, texttype=5))
c_ha.add(gdstk.Label('VDD', (8.815,7.585), layer=68, texttype=5))
c_ha.add(gdstk.Label('GND', (8.815,0.175), layer=68, texttype=5))

lib.write_gds('HA.gds')
